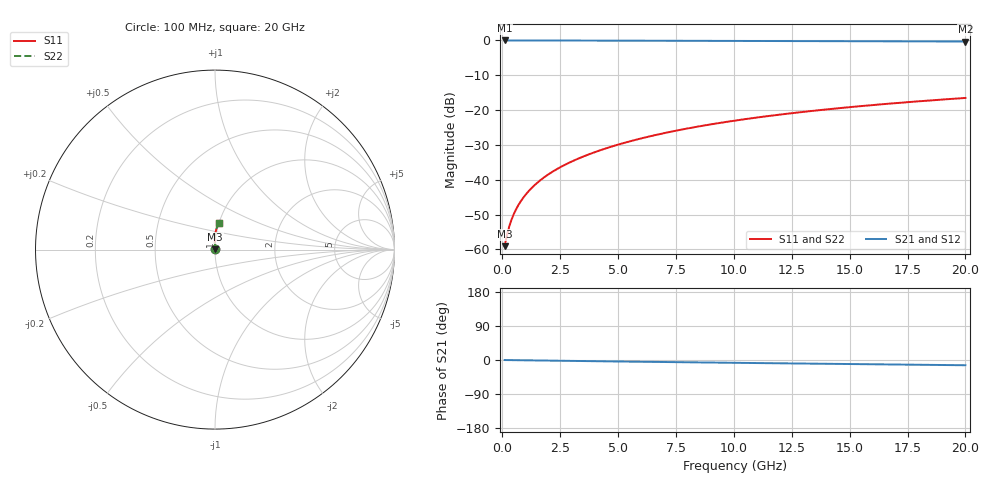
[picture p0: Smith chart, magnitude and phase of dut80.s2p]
! Touchstone file exported from HFSS 2024.1.0
!  File:  C:/UserFiles/LocalFiles/RDL_TSV_Batchsim/temp_RDL_top_80_1778682445.aedt
!  Generated:  10:29:40 PM May 13, 2026
!  Design:  RDL_top
!  Project:  temp_RDL_top_80_1778682445
!  Setup:  Setup1
!  Solution:  Sweep
! Variables:
!  dtsv = 10.80580581um
!  hbump = 3um
!  htsv = 99.27um
!  ldown = 100um
!  lrdl = 157.48um
!  p = 40
!  p1 = 57.69um
!  rhole = 1um
!  t = 450um
!  tdown = 3.915915916um
!  trdl = 3.14um
!  wdown = 15.38538539um
!  wrdl = 29.2um
# GHz S MA R 50.000000
! Terminal data exported
! Port[1] = Box2_T1
! Port[2] = Box2_T2
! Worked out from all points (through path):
!   200 points, 100 MHz to 20 GHz, reference 50 ohm
!   highest |S21| = -0.01 dB at 100 MHz (marker M1); lowest = -0.3 dB at 20 GHz (marker M2)
!   group delay of S21, straight-line fit = 1.89 ps
!   lowest |S11| = -59.0 dB at 100 MHz (marker M3), VSWR 1.00, Z = 50.1 + j0.0661 ohm
!   |S11| at or under -10 dB: start of sweep to end of sweep
!   |S22| runs from -59.0 to -16.5 dB; largest |S21 - S12| = 2.5e-15
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0.1  0.001116 36.3  0.9991 -0.1  0.9991 -0.1  0.001116 36.3
! Gamma 0 0 0 0
! Port Impedance 50 0 50 0
0.2  0.001601 54.0  0.999 -0.2  0.999 -0.2  0.001601 54.0
0.3  0.002141 62.7  0.999 -0.3  0.999 -0.3  0.002141 62.7
0.4  0.002691 67.9  0.9989 -0.3  0.9989 -0.3  0.002691 67.9
0.5  0.003243 71.5  0.9988 -0.4  0.9988 -0.4  0.003243 71.5
0.6  0.0038 74.2  0.9988 -0.5  0.9988 -0.5  0.0038 74.2
0.8  0.004928 78.1  0.9987 -0.7  0.9987 -0.7  0.004928 78.1
1.1  0.006654 81.8  0.9985 -0.9  0.9985 -0.9  0.006654 81.8
1.3  0.007823 83.5  0.9983 -1.1  0.9983 -1.1  0.007823 83.5
1.6  0.009604 85.4  0.9981 -1.3  0.9981 -1.3  0.009604 85.4
2.1  0.01264 87.7  0.9975 -1.7  0.9975 -1.7  0.01264 87.7
2.7  0.01639 89.4  0.9968 -2.2  0.9968 -2.2  0.01639 89.4
3.5  0.0216 91.0  0.9955 -2.8  0.9955 -2.8  0.0216 91.0
4.2  0.02634 91.8  0.9942 -3.3  0.9942 -3.3  0.02634 91.8
5  0.03197 92.4  0.9927 -3.9  0.9927 -3.9  0.03197 92.4
5.9  0.03853 92.6  0.9909 -4.6  0.9909 -4.6  0.03853 92.6
6.8  0.0453 92.5  0.989 -5.2  0.989 -5.2  0.0453 92.5
8.4  0.05769 91.8  0.9857 -6.3  0.9857 -6.3  0.05769 91.8
10.1  0.07115 90.7  0.9824 -7.5  0.9824 -7.5  0.07115 90.7
13.4  0.09754 88.0  0.9764 -9.6  0.9764 -9.6  0.09754 88.0
16.7  0.1237 85.1  0.9708 -11.8  0.9708 -11.8  0.1237 85.1
20  0.1495 82.3  0.9652 -13.8  0.9652 -13.8  0.1495 82.3
